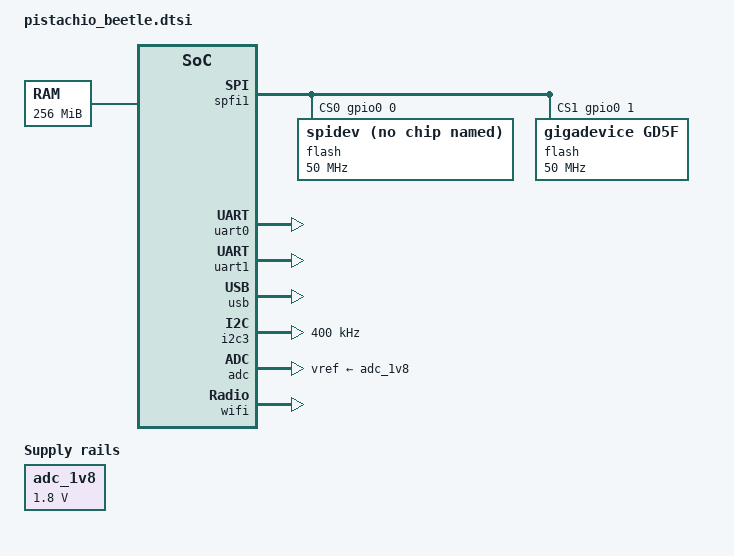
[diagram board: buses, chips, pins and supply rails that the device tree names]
/*
 * Copyright (C) 2015 Imagination Technologies Ltd.
 * Copyright (C) 2015 Google, Inc.
 *
 * This program is free software; you can redistribute it and/or modify
 * it under the terms of the GNU General Public License version 2 as
 * published by the Free Software Foundation.
 */

#include "pistachio.dtsi"

/ {
	memory {
		device_type = "memory";
		reg =  <0x00000000 0x10000000>;
	};


	adc_1v8: adc-regulator {
		compatible = "regulator-fixed";
		regulator-name = "1V8_ADC";
		regulator-min-microvolt = <1800000>;
		regulator-max-microvolt = <1800000>;
	};
};

&spfi1 {
	status = "okay";

	pinctrl-0 = <&spim1_pins>, <&spim1_quad_pins>;
	pinctrl-names = "default";
	cs-gpios = <&gpio0 0 GPIO_ACTIVE_HIGH>, <&gpio0 1 GPIO_ACTIVE_HIGH>;

	flash@0 {
		compatible = "spidev";
		reg = <0>;
		spi-max-frequency = <50000000>;
	};

	flash@1 {
		compatible = "gigadevice,gd5f";
		reg = <1>;
		spi-max-frequency = <50000000>;
		nand-on-flash-bbt;
		#address-cells = <1>;
		#size-cells = <1>;
	};
};

&uart0 {
	pinctrl-0 = <&uart0_pins>, <&uart0_rts_cts_pins>;
	pinctrl-names = "default";

	status = "okay";
};

&uart1 {
	status = "okay";
};

&usb {
	status = "okay";
};

&i2c3 {
	status = "okay";
	clock-frequency = <400000>;
};

&adc {
	status = "okay";
	vref-supply = <&adc_1v8>;
	adc-reserved-channels = <0x10>;
};

&wifi {
	status = "okay";
	mac-address0 = [0123456789AC];
	mac-address1 = [0123456789AD];
	rf-params = [1E00000000002426292A2C2E3237393F454A52576066000000002B2C3033373A3D44474D51575A61656B6F000000002B2C3033373A3D44474D51575A61656B6F000000002B2C3033373A3D44474D51575A61656B6F000000002B2C3033373A3D44474D51575A61656B6F00000000002426292A2C2E3237393F454A52576066000000002B2C3033373A3D44474D51575A61656B6F000000002B2C3033373A3D44474D51575A61656B6F000000002B2C3033373A3D44474D51575A61656B6F000000002B2C3033373A3D44474D51575A61656B6F0808080808080808080808080808080808080808080808080808080808080808080808080808080808080808080808080808080808080808080808080808080808080808080808080808080808080808080808080808080808080808080808080808080808080808080808080808080808080808080808080808080808080808080808080808080808080808080808080808080808080808080808080808];
	num_streams = [02];
	io-channels = <&adc 4>;
};

